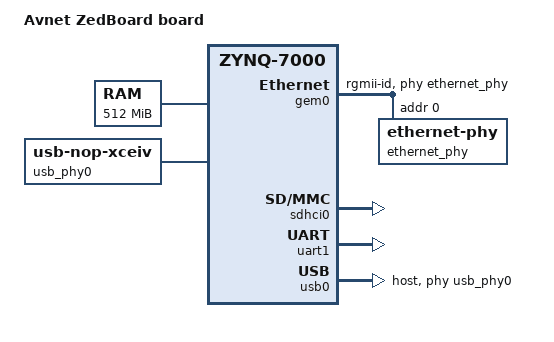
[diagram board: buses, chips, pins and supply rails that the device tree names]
// SPDX-License-Identifier: GPL-2.0
/*
 *  Copyright (C) 2011 - 2014 Xilinx
 *  Copyright (C) 2012 National Instruments Corp.
 */
/dts-v1/;
#include "zynq-7000.dtsi"

/ {
	model = "Avnet ZedBoard board";
	compatible = "avnet,zynq-zed", "xlnx,zynq-zed", "xlnx,zynq-7000";

	aliases {
		ethernet0 = &gem0;
		serial0 = &uart1;
		mmc0 = &sdhci0;
	};

	memory@0 {
		device_type = "memory";
		reg = <0x0 0x20000000>;
	};

	chosen {
		bootargs = "";
		stdout-path = "serial0:115200n8";
	};

	usb_phy0: phy0 {
		compatible = "usb-nop-xceiv";
		#phy-cells = <0>;
	};
};

&clkc {
	ps-clk-frequency = <33333333>;
};

&gem0 {
	status = "okay";
	phy-mode = "rgmii-id";
	phy-handle = <&ethernet_phy>;

	ethernet_phy: ethernet-phy@0 {
		reg = <0>;
		device_type = "ethernet-phy";
	};
};

&sdhci0 {
	status = "okay";
};

&uart1 {
	status = "okay";
};

&usb0 {
	status = "okay";
	dr_mode = "host";
	usb-phy = <&usb_phy0>;
};
